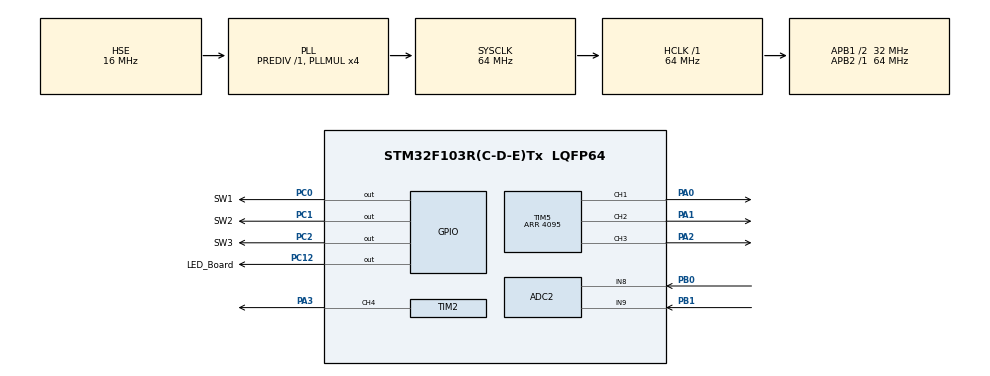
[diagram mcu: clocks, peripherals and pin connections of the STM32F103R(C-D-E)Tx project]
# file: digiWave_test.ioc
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ADC2.Channel-2\#ChannelRegularConversion=ADC_CHANNEL_8
ADC2.Channel-3\#ChannelRegularConversion=ADC_CHANNEL_9
ADC2.ContinuousConvMode=ENABLE
ADC2.NbrOfConversion=2
ADC2.NbrOfConversionFlag=1
ADC2.Rank-2\#ChannelRegularConversion=1
ADC2.Rank-3\#ChannelRegularConversion=2
ADC2.SamplingTime-2\#ChannelRegularConversion=ADC_SAMPLETIME_239CYCLES_5
ADC2.SamplingTime-3\#ChannelRegularConversion=ADC_SAMPLETIME_239CYCLES_5
Mcu.Family=STM32F1
Mcu.Name=STM32F103R(C-D-E)Tx
Mcu.Package=LQFP64
NVIC.PriorityGroup=NVIC_PRIORITYGROUP_4
PA0-WKUP.Signal=S_TIM5_CH1
PA1.Signal=S_TIM5_CH2
PA13.Mode=Serial_Wire
PA13.Signal=SYS_JTMS-SWDIO
PA14.Mode=Serial_Wire
PA14.Signal=SYS_JTCK-SWCLK
PA2.Signal=S_TIM5_CH3
PA3.Signal=S_TIM2_CH4
PB0.Signal=ADCx_IN8
PB1.Signal=ADCx_IN9
PC0.GPIO_Label=SW1
PC0.Signal=GPIO_Output
PC1.GPIO_Label=SW2
PC1.Signal=GPIO_Output
PC12.GPIO_Label=LED_Board
PC12.Signal=GPIO_Output
PC2.GPIO_Label=SW3
PC2.Signal=GPIO_Output
PD0-OSC_IN.Mode=HSE-External-Oscillator
PD0-OSC_IN.Signal=RCC_OSC_IN
PD1-OSC_OUT.Mode=HSE-External-Oscillator
PD1-OSC_OUT.Signal=RCC_OSC_OUT
ProjectManager.HeapSize=0x200
ProjectManager.StackSize=0x400
ProjectManager.TargetToolchain=SW4STM32
RCC.ADCPresc=RCC_ADCPCLK2_DIV8
RCC.AHBFreq_Value=64000000
RCC.APB1CLKDivider=RCC_HCLK_DIV2
RCC.APB1Freq_Value=32000000
RCC.APB1TimFreq_Value=64000000
RCC.APB2Freq_Value=64000000
RCC.APB2TimFreq_Value=64000000
RCC.HCLKFreq_Value=64000000
RCC.HSE_VALUE=16000000
RCC.PLLMUL=RCC_PLL_MUL4
RCC.PLLSourceVirtual=RCC_PLLSOURCE_HSE
RCC.SYSCLKFreq_VALUE=64000000
RCC.SYSCLKSource=RCC_SYSCLKSOURCE_PLLCLK
RCC.USBFreq_Value=64000000
SH.ADCx_IN8.0=ADC2_IN8,IN8
SH.ADCx_IN9.0=ADC2_IN9,IN9
SH.S_TIM2_CH4.0=TIM2_CH4,PWM Generation4 CH4
SH.S_TIM5_CH1.0=TIM5_CH1,PWM Generation1 CH1
SH.S_TIM5_CH2.0=TIM5_CH2,PWM Generation2 CH2
SH.S_TIM5_CH3.0=TIM5_CH3,PWM Generation3 CH3
TIM2.Channel-PWM\ Generation4\ CH4=TIM_CHANNEL_4
TIM2.Period=255
TIM2.Pulse-PWM\ Generation4\ CH4=127
TIM5.Channel-PWM\ Generation1\ CH1=TIM_CHANNEL_1
TIM5.Channel-PWM\ Generation2\ CH2=TIM_CHANNEL_2
TIM5.Channel-PWM\ Generation3\ CH3=TIM_CHANNEL_3
TIM5.Period=4095
TIM5.Pulse-PWM\ Generation1\ CH1=2047
TIM5.Pulse-PWM\ Generation2\ CH2=2047
TIM5.Pulse-PWM\ Generation3\ CH3=2047
board=custom

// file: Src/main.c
/* USER CODE BEGIN Header */
/**
  ******************************************************************************
  * @file           : main.c
  * @brief          : Main program body
  ******************************************************************************
  * @attention
  *
  * <h2><center>&copy; Copyright (c) 2020 STMicroelectronics.
  * All rights reserved.</center></h2>
  *
  * This software component is licensed by ST under BSD 3-Clause license,
  * the "License"; You may not use this file except in compliance with the
  * License. You may obtain a copy of the License at:
  *                        opensource.org/licenses/BSD-3-Clause
  *
  ******************************************************************************
  */
/* USER CODE END Header */

#include "main.h"

/* USER CODE BEGIN Includes */
#include "9481.h"
#include "fonts.h"
#include "touch.h"
#include "menu.h"
#include "ad9833.h"

#include "string.h"
#include "stdio.h"
/* USER CODE END Includes */

ADC_HandleTypeDef hadc2;

TIM_HandleTypeDef htim2;
TIM_HandleTypeDef htim5;

/* USER CODE BEGIN PV */
char Buf[30];
volatile uint16_t valores[4];
uint32_t ADval[2];

/* USER CODE END PV */

void SystemClock_Config(void);
static void MX_GPIO_Init(void);
static void MX_TIM2_Init(void);
static void MX_TIM5_Init(void);
static void MX_ADC2_Init(void);

int main(void)
{

  /* MCU Configuration--------------------------------------------------------*/

  /* Reset of all peripherals, Initializes the Flash interface and the Systick. */
  HAL_Init();

  /* Configure the system clock */
  SystemClock_Config();

  /* Initialize all configured peripherals */
  MX_GPIO_Init();
  MX_TIM2_Init();
  MX_TIM5_Init();
  MX_ADC2_Init();
  /* USER CODE BEGIN 2 */
  HAL_ADC_Start(&hadc2);
  ad9833_init();
  LCD_Begin();

  LCD_fillScreen(DARKBLUE-3);
  LCD_WriteString(50, 100, "digiWAVE v0.1", Font_16x26, YELLOW, DARKBLUE-3);
  LCD_WriteString(20, 200, "made by: P.S.S. dos Santos", Font_11x18, WHITE, DARKBLUE-3);

  putVal();
  HAL_Delay(4000);
  drawWindow(&M);

  /* USER CODE END 2 */

  /* Infinite loop */
  while (1)
  {

    /* USER CODE BEGIN 3 */
//	  LCD_fillScreen(BLACK);
//	  HAL_GPIO_TogglePin(GPIOC, GPIO_PIN_12);
//
//	  LCD_fillRectangle(10, 10, 310, 50, DARKBLUE);
//	  sprintf(Buf,"%d Freq: 1 234 567.23 Hz", valores[0]);
//	  LCD_WriteString(10, 20, Buf, Font_11x18, WHITE, DARKBLUE);
//

	  HAL_Delay(200);
	  touch_read(valores);
	  if(valores[2]<3000)
	  {
	  valores[0] = (3400-valores[0])/9;
	  valores[1] = (valores[1]-600)/8.5;
	   touchPress(valores[0], valores[1]);
	  }

  }
  /* USER CODE END 3 */
}

void SystemClock_Config(void)
{
  RCC_OscInitTypeDef RCC_OscInitStruct = {0};
  RCC_ClkInitTypeDef RCC_ClkInitStruct = {0};
  RCC_PeriphCLKInitTypeDef PeriphClkInit = {0};

  /** Initializes the CPU, AHB and APB busses clocks
  */
  RCC_OscInitStruct.OscillatorType = RCC_OSCILLATORTYPE_HSE;
  RCC_OscInitStruct.HSEState = RCC_HSE_ON;
  RCC_OscInitStruct.HSEPredivValue = RCC_HSE_PREDIV_DIV1;
  RCC_OscInitStruct.HSIState = RCC_HSI_ON;
  RCC_OscInitStruct.PLL.PLLState = RCC_PLL_ON;
  RCC_OscInitStruct.PLL.PLLSource = RCC_PLLSOURCE_HSE;
  RCC_OscInitStruct.PLL.PLLMUL = RCC_PLL_MUL4;
  if (HAL_RCC_OscConfig(&RCC_OscInitStruct) != HAL_OK)
  {
    Error_Handler();
  }
  /** Initializes the CPU, AHB and APB busses clocks
  */
  RCC_ClkInitStruct.ClockType = RCC_CLOCKTYPE_HCLK|RCC_CLOCKTYPE_SYSCLK
                              |RCC_CLOCKTYPE_PCLK1|RCC_CLOCKTYPE_PCLK2;
  RCC_ClkInitStruct.SYSCLKSource = RCC_SYSCLKSOURCE_PLLCLK;
  RCC_ClkInitStruct.AHBCLKDivider = RCC_SYSCLK_DIV1;
  RCC_ClkInitStruct.APB1CLKDivider = RCC_HCLK_DIV2;
  RCC_ClkInitStruct.APB2CLKDivider = RCC_HCLK_DIV1;

  if (HAL_RCC_ClockConfig(&RCC_ClkInitStruct, FLASH_LATENCY_2) != HAL_OK)
  {
    Error_Handler();
  }
  PeriphClkInit.PeriphClockSelection = RCC_PERIPHCLK_ADC;
  PeriphClkInit.AdcClockSelection = RCC_ADCPCLK2_DIV8;
  if (HAL_RCCEx_PeriphCLKConfig(&PeriphClkInit) != HAL_OK)
  {
    Error_Handler();
  }
}

static void MX_ADC2_Init(void)
{

  ADC_ChannelConfTypeDef sConfig = {0};

  /** Common config
  */
  hadc2.Instance = ADC2;
  hadc2.Init.ScanConvMode = ADC_SCAN_ENABLE;
  hadc2.Init.ContinuousConvMode = ENABLE;
  hadc2.Init.DiscontinuousConvMode = DISABLE;
  hadc2.Init.ExternalTrigConv = ADC_SOFTWARE_START;
  hadc2.Init.DataAlign = ADC_DATAALIGN_RIGHT;
  hadc2.Init.NbrOfConversion = 2;
  if (HAL_ADC_Init(&hadc2) != HAL_OK)
  {
    Error_Handler();
  }
  /** Configure Regular Channel
  */
  sConfig.Channel = ADC_CHANNEL_8;
  sConfig.Rank = ADC_REGULAR_RANK_1;
  sConfig.SamplingTime = ADC_SAMPLETIME_239CYCLES_5;
  if (HAL_ADC_ConfigChannel(&hadc2, &sConfig) != HAL_OK)
  {
    Error_Handler();
  }
  /** Configure Regular Channel
  */
  sConfig.Channel = ADC_CHANNEL_9;
  sConfig.Rank = ADC_REGULAR_RANK_2;
  if (HAL_ADC_ConfigChannel(&hadc2, &sConfig) != HAL_OK)
  {
    Error_Handler();
  }

}

static void MX_TIM2_Init(void)
{

  TIM_MasterConfigTypeDef sMasterConfig = {0};
  TIM_OC_InitTypeDef sConfigOC = {0};

  htim2.Instance = TIM2;
  htim2.Init.Prescaler = 0;
  htim2.Init.CounterMode = TIM_COUNTERMODE_UP;
  htim2.Init.Period = 255;
  htim2.Init.ClockDivision = TIM_CLOCKDIVISION_DIV1;
  htim2.Init.AutoReloadPreload = TIM_AUTORELOAD_PRELOAD_DISABLE;
  if (HAL_TIM_PWM_Init(&htim2) != HAL_OK)
  {
    Error_Handler();
  }
  sMasterConfig.MasterOutputTrigger = TIM_TRGO_RESET;
  sMasterConfig.MasterSlaveMode = TIM_MASTERSLAVEMODE_DISABLE;
  if (HAL_TIMEx_MasterConfigSynchronization(&htim2, &sMasterConfig) != HAL_OK)
  {
    Error_Handler();
  }
  sConfigOC.OCMode = TIM_OCMODE_PWM1;
  sConfigOC.Pulse = 127;
  sConfigOC.OCPolarity = TIM_OCPOLARITY_HIGH;
  sConfigOC.OCFastMode = TIM_OCFAST_DISABLE;
  if (HAL_TIM_PWM_ConfigChannel(&htim2, &sConfigOC, TIM_CHANNEL_4) != HAL_OK)
  {
    Error_Handler();
  }
  HAL_TIM_MspPostInit(&htim2);

}

static void MX_TIM5_Init(void)
{

  TIM_MasterConfigTypeDef sMasterConfig = {0};
  TIM_OC_InitTypeDef sConfigOC = {0};

  htim5.Instance = TIM5;
  htim5.Init.Prescaler = 0;
  htim5.Init.CounterMode = TIM_COUNTERMODE_UP;
  htim5.Init.Period = 4095;
  htim5.Init.ClockDivision = TIM_CLOCKDIVISION_DIV1;
  htim5.Init.AutoReloadPreload = TIM_AUTORELOAD_PRELOAD_DISABLE;
  if (HAL_TIM_PWM_Init(&htim5) != HAL_OK)
  {
    Error_Handler();
  }
  sMasterConfig.MasterOutputTrigger = TIM_TRGO_RESET;
  sMasterConfig.MasterSlaveMode = TIM_MASTERSLAVEMODE_DISABLE;
  if (HAL_TIMEx_MasterConfigSynchronization(&htim5, &sMasterConfig) != HAL_OK)
  {
    Error_Handler();
  }
  sConfigOC.OCMode = TIM_OCMODE_PWM1;
  sConfigOC.Pulse = 2047;
  sConfigOC.OCPolarity = TIM_OCPOLARITY_HIGH;
  sConfigOC.OCFastMode = TIM_OCFAST_DISABLE;
  if (HAL_TIM_PWM_ConfigChannel(&htim5, &sConfigOC, TIM_CHANNEL_1) != HAL_OK)
  {
    Error_Handler();
  }
  if (HAL_TIM_PWM_ConfigChannel(&htim5, &sConfigOC, TIM_CHANNEL_2) != HAL_OK)
  {
    Error_Handler();
  }
  if (HAL_TIM_PWM_ConfigChannel(&htim5, &sConfigOC, TIM_CHANNEL_3) != HAL_OK)
  {
    Error_Handler();
  }
  HAL_TIM_MspPostInit(&htim5);

}

static void MX_GPIO_Init(void)
{
  GPIO_InitTypeDef GPIO_InitStruct = {0};

  /* GPIO Ports Clock Enable */
  __HAL_RCC_GPIOD_CLK_ENABLE();
  __HAL_RCC_GPIOC_CLK_ENABLE();
  __HAL_RCC_GPIOA_CLK_ENABLE();
  __HAL_RCC_GPIOB_CLK_ENABLE();

  /*Configure GPIO pin Output Level */
  HAL_GPIO_WritePin(GPIOC, SW1_Pin|SW2_Pin|SW3_Pin|LED_Board_Pin, GPIO_PIN_RESET);

  /*Configure GPIO pins : SW1_Pin SW2_Pin SW3_Pin LED_Board_Pin */
  GPIO_InitStruct.Pin = SW1_Pin|SW2_Pin|SW3_Pin|LED_Board_Pin;
  GPIO_InitStruct.Mode = GPIO_MODE_OUTPUT_PP;
  GPIO_InitStruct.Pull = GPIO_NOPULL;
  GPIO_InitStruct.Speed = GPIO_SPEED_FREQ_LOW;
  HAL_GPIO_Init(GPIOC, &GPIO_InitStruct);

}

void Error_Handler(void)
{
}

/************************ (C) COPYRIGHT STMicroelectronics *****END OF FILE****/
